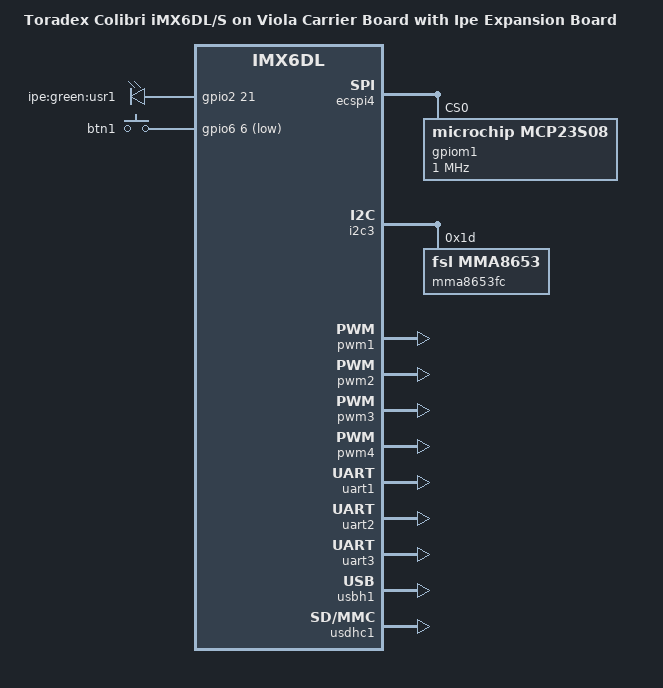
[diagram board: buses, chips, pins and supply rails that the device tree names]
/*
 * Copyright 2016 Embedded Labworks
 * Copyright 2014-2015 Toradex AG
 * Copyright 2012 Freescale Semiconductor, Inc.
 * Copyright 2011 Linaro Ltd.
 *
 * The code contained herein is licensed under the GNU General Public
 * License. You may obtain a copy of the GNU General Public License
 * Version 2 or later at the following locations:
 *
 * http://www.opensource.org/licenses/gpl-license.html
 * http://www.gnu.org/copyleft/gpl.html
 */

/dts-v1/;

#include <dt-bindings/input/input.h>
#include <dt-bindings/interrupt-controller/irq.h>
#include "imx6dl.dtsi"
#include "imx6qdl-colibri.dtsi"

/ {
	model = "Toradex Colibri iMX6DL/S on Viola Carrier Board with Ipe Expansion Board";
	compatible = "toradex,colibri_imx6dl-eval", "toradex,colibri_imx6dl", "fsl,imx6dl";

	regulators {
		reg_usb_host_vbus: usb_host_vbus {
			status = "okay";
		};
	};

	leds {
		compatible = "labworks,drvled";

		led1 {
			label = "ipe:green:usr1";
			gpios = <&gpio2 21 GPIO_ACTIVE_HIGH>;
			default-trigger = "heartbeat";
		};
	};

	buttons {
		compatible = "labworks,drvbtn";

		btn1 {
			gpios = <&gpio6 6 GPIO_ACTIVE_LOW>;
		};
	};
};

&ecspi4 {
	status = "okay";

	gpiom1: gpio@0 {
		compatible = "microchip,mcp23s08";
		gpio-controller;
		#gpio-cells = <2>;
		microchip,spi-present-mask = <0x01>;
		reg = <0>;
		spi-max-frequency = <1000000>;
	};
};

&i2c3 {
	status = "okay";

	mma8653fc@1d {
		compatible = "fsl,mma8653";
		reg = <0x1d>;
	};
};

&pwm1 {
	status = "okay";
};

&pwm2 {
	status = "okay";
};

&pwm3 {
	status = "okay";
};

&pwm4 {
	status = "okay";
};

&uart1 {
	status = "okay";
};

&uart2 {
	status = "okay";
};

&uart3 {
	status = "okay";
};

&usbh1 {
	status = "okay";
};

&usdhc1 {
	status = "okay";
};

&gpio2 {
	status = "okay";
};

